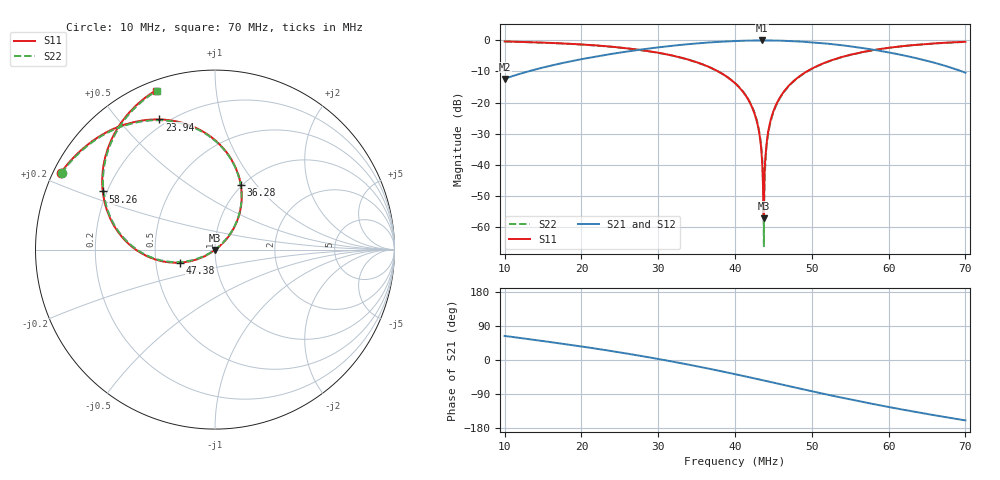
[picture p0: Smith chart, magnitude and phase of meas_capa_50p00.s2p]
#  HZ  S  RI  R  50.00
! Rohde & Schwarz ZVT8 8Ports - Version 4.11 - 1300.0000k08 SN: 100242
! Date: 2026-07-13 14:02:33
! Measurements: S11 S21 S12 S22
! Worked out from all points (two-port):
!   3001 points, 10 MHz to 70 MHz, reference 50 ohm
!   highest |S21| = -0.06 dB at 43.56 MHz (marker M1); lowest = -12.4 dB at 10 MHz (marker M2)
!   |S21| within 3 dB of the highest: 27.55 MHz to 58.07 MHz (30.51 MHz wide, 71.3 % of centre)
!   lowest |S11| = -57.2 dB at 43.74 MHz (marker M3), VSWR 1.00, Z = 50 - j0.138 ohm
!   |S11| at or under -10 dB: 37.81 MHz to 49.36 MHz (11.55 MHz wide, 26.5 % of centre)
!   |S22| runs from -66.1 to -0.4 dB; largest |S21 - S12| = 0.0018
!   S11 on the Smith chart (normalised r, x): 10 MHz: 0.02, +0.24; 23.94 MHz: 0.17, +0.65; 36.28 MHz: 0.98, +0.84; 47.38 MHz: 0.67, -0.10; 58.26 MHz: 0.18, +0.24; 70 MHz: 0.04, +0.69
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1e7  -0.8571 0.4285  0.1074 0.2151  0.1076 0.2148  -0.8545 0.4256
2e7  -0.4972 0.6984  0.4041 0.2891  0.4036 0.2885  -0.4959 0.6946
2.394e7  -0.3108 0.7251  0.554 0.2404  0.5539 0.2406  -0.3101 0.7205
3e7  -0.0262 0.6309  0.7681 0.0365  0.7681 0.0361  -0.027 0.6278
3.628e7  0.1435 0.3606  0.851 -0.3375  0.851 -0.3374  0.1429 0.3603
4e7  0.1241 0.1628  0.7726 -0.5902  0.7723 -0.5901  0.1244 0.1645
4.158e7  0.0838 0.0853  0.7059 -0.6891  0.7053 -0.6888  0.0838 0.0878
4.262e7  0.0471 0.0401  0.651 -0.7479  0.6508 -0.7474  0.0475 0.0426
4.322e7  0.0232 0.0161  0.616 -0.7787  0.6157 -0.778  0.0235 0.0194
4.338e7  0.016 0.0114  0.6061 -0.7866  0.606 -0.7862  0.0173 0.0144
4.356e7  0.00823 0.00477  0.5954 -0.7955  0.595 -0.7948  0.00892 0.00802
4.374e7  -1.29e-05 -0.00138  0.5838 -0.8039  0.5835 -0.8028  0.000505 0.00144
4.396e7  -0.0102 -0.00944  0.5696 -0.8135  0.5692 -0.8131  -0.00908 -0.00597
4.412e7  -0.0178 -0.0136  0.5593 -0.8206  0.5592 -0.8198  -0.0174 -0.0105
4.43e7  -0.0273 -0.02  0.5474 -0.8278  0.5468 -0.8277  -0.0253 -0.0171
4.484e7  -0.0532 -0.034  0.5105 -0.8495  0.5103 -0.8489  -0.0517 -0.0315
4.582e7  -0.1042 -0.0562  0.4406 -0.8817  0.4402 -0.8812  -0.1041 -0.0519
4.738e7  -0.1941 -0.0722  0.3233 -0.9152  0.3226 -0.9145  -0.1921 -0.0693
5e7  -0.347 -0.0495  0.1232 -0.9194  0.1229 -0.9192  -0.3435 -0.0475
5.826e7  -0.6256 0.3241  -0.3187 -0.6198  -0.3182 -0.6196  -0.6208 0.3239
6e7  -0.6266 0.4262  -0.357 -0.53  -0.3571 -0.5295  -0.6221 0.4257
7e7  -0.3298 0.8863  -0.2825 -0.1065  -0.2826 -0.1066  -0.3247 0.8846
